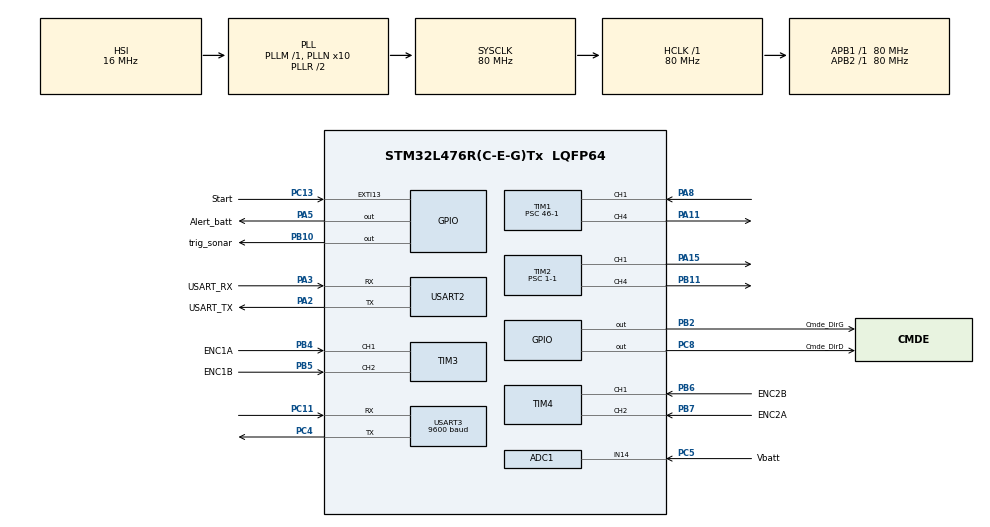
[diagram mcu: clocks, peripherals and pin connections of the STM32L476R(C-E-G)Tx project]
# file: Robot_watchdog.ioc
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ADC1.AWD1HighThreshold=255
ADC1.AWD1ITMode=ENABLE
ADC1.AWD1LowThreshold=232
ADC1.Channel-0\#ChannelRegularConversion=ADC_CHANNEL_14
ADC1.ClockPrescaler=ADC_CLOCK_ASYNC_DIV1
ADC1.EnableAnalogWatchDog1=true
ADC1.NbrOfConversionFlag=1
ADC1.OffsetNumber-0\#ChannelRegularConversion=ADC_OFFSET_NONE
ADC1.Rank-0\#ChannelRegularConversion=1
ADC1.Resolution=ADC_RESOLUTION_8B
ADC1.SamplingTime-0\#ChannelRegularConversion=ADC_SAMPLETIME_640CYCLES_5
ADC1.WatchdogChannel=ADC_CHANNEL_14
ADC1.master=1
Mcu.Family=STM32L4
Mcu.Name=STM32L476R(C-E-G)Tx
Mcu.Package=LQFP64
NVIC.ADC1_2_IRQn=true\:0\:0\:false\:false\:true\:true\:true\:true
NVIC.EXTI15_10_IRQn=true\:0\:0\:false\:false\:true\:true\:true\:true
NVIC.PriorityGroup=NVIC_PRIORITYGROUP_4
NVIC.TIM1_CC_IRQn=true\:0\:0\:false\:false\:true\:true\:true\:true
NVIC.TIM1_UP_TIM16_IRQn=true\:0\:0\:false\:false\:true\:true\:true\:true
NVIC.TIM2_IRQn=true\:0\:0\:false\:false\:true\:true\:true\:true
NVIC.TIM6_DAC_IRQn=true\:0\:0\:false\:false\:true\:true\:true\:true
NVIC.TIM7_IRQn=true\:0\:0\:false\:false\:true\:true\:true\:true
NVIC.USART3_IRQn=true\:0\:0\:false\:false\:true\:true\:true\:true
PA11.Signal=S_TIM1_CH4
PA13\ (JTMS-SWDIO).GPIO_Label=TMS
PA13\ (JTMS-SWDIO).Mode=Serial_Wire
PA13\ (JTMS-SWDIO).Signal=SYS_JTMS-SWDIO
PA14\ (JTCK-SWCLK).GPIO_Label=TCK
PA14\ (JTCK-SWCLK).Mode=Serial_Wire
PA14\ (JTCK-SWCLK).Signal=SYS_JTCK-SWCLK
PA15\ (JTDI).Signal=S_TIM2_CH1
PA2.GPIO_Label=USART_TX
PA2.GPIO_Mode=GPIO_MODE_AF_PP
PA2.GPIO_PuPd=GPIO_NOPULL
PA2.GPIO_Speed=GPIO_SPEED_FREQ_VERY_HIGH
PA2.Mode=Asynchronous
PA2.Signal=USART2_TX
PA3.GPIO_Label=USART_RX
PA3.GPIO_Mode=GPIO_MODE_AF_PP
PA3.GPIO_PuPd=GPIO_NOPULL
PA3.GPIO_Speed=GPIO_SPEED_FREQ_VERY_HIGH
PA3.Mode=Asynchronous
PA3.Signal=USART2_RX
PA5.GPIO_Label=Alert_batt
PA5.Signal=GPIO_Output
PA8.Signal=S_TIM1_CH1
PB10.GPIO_Label=trig_sonar
PB10.Signal=GPIO_Output
PB11.Signal=S_TIM2_CH4
PB2.GPIO_Label=Cmde_DirG
PB2.Signal=GPIO_Output
PB3\ (JTDO-TRACESWO).GPIO_Label=SWO
PB3\ (JTDO-TRACESWO).Signal=SYS_JTDO-SWO
PB4\ (NJTRST).GPIO_Label=ENC1A
PB4\ (NJTRST).Signal=S_TIM3_CH1
PB5.GPIO_Label=ENC1B
PB5.Signal=S_TIM3_CH2
PB6.GPIO_Label=ENC2B
PB6.Signal=S_TIM4_CH1
PB7.GPIO_Label=ENC2A
PB7.Signal=S_TIM4_CH2
PC11.Mode=Asynchronous
PC11.Signal=USART3_RX
PC13.GPIO_Label=Start
PC13.Signal=GPXTI13
PC14-OSC32_IN\ (PC14).Mode=LSE-External-Oscillator
PC14-OSC32_IN\ (PC14).Signal=RCC_OSC32_IN
PC15-OSC32_OUT\ (PC15).Mode=LSE-External-Oscillator
PC15-OSC32_OUT\ (PC15).Signal=RCC_OSC32_OUT
PC4.Mode=Asynchronous
PC4.Signal=USART3_TX
PC5.GPIO_Label=Vbatt
PC5.Signal=ADCx_IN14
PC8.GPIO_Label=Cmde_DirD
PC8.Signal=GPIO_Output
PH0-OSC_IN\ (PH0).Signal=RCC_OSC_IN
PH1-OSC_OUT\ (PH1).Signal=RCC_OSC_OUT
ProjectManager.HeapSize=0x200
ProjectManager.StackSize=0x400
ProjectManager.TargetToolchain=STM32CubeIDE
RCC.ADCFreq_Value=64000000
RCC.AHBFreq_Value=80000000
RCC.APB1Freq_Value=80000000
RCC.APB1TimFreq_Value=80000000
RCC.APB2Freq_Value=80000000
RCC.APB2TimFreq_Value=80000000
RCC.CortexFreq_Value=80000000
RCC.HCLKFreq_Value=80000000
RCC.HSE_VALUE=8000000
RCC.HSI_VALUE=16000000
RCC.MSI_VALUE=4000000
RCC.PLLN=10
RCC.PLLSourceVirtual=RCC_PLLSOURCE_HSI
RCC.PREFETCH_ENABLE=1
RCC.SYSCLKFreq_VALUE=80000000
RCC.SYSCLKSource=RCC_SYSCLKSOURCE_PLLCLK
RCC.USBFreq_Value=64000000
RCC.VCOOutputFreq_Value=160000000
SH.ADCx_IN14.0=ADC1_IN14,IN14-Single-Ended
SH.S_TIM1_CH1.0=TIM1_CH1,PWM_Input_1
SH.S_TIM1_CH4.0=TIM1_CH4,PWM Generation4 CH4
SH.S_TIM2_CH1.0=TIM2_CH1,PWM Generation1 CH1
SH.S_TIM2_CH4.0=TIM2_CH4,PWM Generation4 CH4
SH.S_TIM3_CH1.0=TIM3_CH1,Encoder_Interface
SH.S_TIM3_CH2.0=TIM3_CH2,Encoder_Interface
SH.S_TIM4_CH1.0=TIM4_CH1,Encoder_Interface
SH.S_TIM4_CH2.0=TIM4_CH2,Encoder_Interface
TIM1.Channel-PWM\ Generation4\ CH4=TIM_CHANNEL_4
TIM1.Prescaler=46-1
TIM2.Channel-PWM\ Generation1\ CH1=TIM_CHANNEL_1
TIM2.Channel-PWM\ Generation4\ CH4=TIM_CHANNEL_4
TIM2.Period=80000
TIM2.Prescaler=1-1
TIM3.EncoderMode=TIM_ENCODERMODE_TI12
TIM3.IC1Filter=8
TIM3.IC2Filter=8
TIM4.EncoderMode=TIM_ENCODERMODE_TI12
TIM4.IC1Filter=8
TIM4.IC1Polarity=TIM_ICPOLARITY_FALLING
TIM4.IC2Filter=8
TIM4.IC2Polarity=TIM_ICPOLARITY_RISING
TIM6.Period=65520
TIM6.Prescaler=122-1
TIM7.Period=65040-1
TIM7.Prescaler=123-1
USART2.VirtualMode-Asynchronous=VM_ASYNC
USART3.BaudRate=9600
USART3.VirtualMode-Asynchronous=VM_ASYNC
VP_TIM1_VS_ClockSourceINT.Mode=Internal
VP_TIM2_VS_ClockSourceINT.Mode=Internal
VP_TIM6_VS_ClockSourceINT.Mode=Enable_Timer
VP_TIM7_VS_ClockSourceINT.Mode=Enable_Timer
board=NUCLEO-L476RG

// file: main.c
/* USER CODE BEGIN Header */
/**
  ******************************************************************************
  * @file           : main.c
  * @brief          : Main program body
  ******************************************************************************
  * @attention
  *
  * Copyright (c) 2024 STMicroelectronics.
  * All rights reserved.
  *
  * This software is licensed under terms that can be found in the LICENSE file
  * in the root directory of this software component.
  * If no LICENSE file comes with this software, it is provided AS-IS.
  *
  ******************************************************************************
  */
/* USER CODE END Header */
#include "main.h"

/* USER CODE BEGIN Includes */
#include <stdlib.h>
#include <stdio.h>
#include <stdbool.h>
#include <string.h>
/* USER CODE END Includes */

/* USER CODE BEGIN PTD */
typedef enum {
    STATE_IDLE,
    STATE_FORWARD,
    STATE_TURN_LEFT,
    STATE_TURN_RIGHT,
    STATE_ROTATE_SONAR,
    STATE_EVITE_MUR
} State_t;
/* USER CODE END PTD */

ADC_HandleTypeDef hadc1;

TIM_HandleTypeDef htim1;
TIM_HandleTypeDef htim2;
TIM_HandleTypeDef htim3;
TIM_HandleTypeDef htim4;
TIM_HandleTypeDef htim6;
TIM_HandleTypeDef htim7;

UART_HandleTypeDef huart2;
UART_HandleTypeDef huart3;

/* USER CODE BEGIN PV */

State_t currentState = STATE_IDLE;

void check_button_state(void);

void avancer_20(void);
void turn_left(void);
void turn_left_auto(void);
void turn_right(void);
void turn_right_auto(void);
void stop_robot(void);
void recule_robot(void);
void commande();
void pid_asservissement(void);
int get_sonar_distance(void);
void tourner_sonar(int angle);
void rotation_sonar(void);
void rotation_sonar_recursive(int angle);
void activer_sonar(void);

float Kp = 100;
float Ki = 80;
float Kd = 0;

float erreur_d = 0;
float erreur_prec_d = 0;
float somme_erreur_d = 0;
float variation_erreur_d = 0;

float erreur_g = 0;
float erreur_prec_g = 0;
float somme_erreur_g = 0;
float variation_erreur_g = 0;

volatile int16_t vitesse_d = 0;  // mesurée (via calcul_vitesse)
volatile int16_t vitesse_g = 0;
volatile int16_t vitesse_consigne_d = 70;
volatile int16_t vitesse_consigne_g = 70;

volatile uint16_t new_d;
volatile uint16_t new_g;
volatile uint16_t dist_old_d=0;
volatile uint16_t dist_old_g=0;
volatile char buffer;
volatile int com_avancer = 0;
volatile int com_gauche = 0;
volatile int com_droite = 0;
volatile int com_arriere = 0;
volatile int com_arret = 0;
volatile int16_t delta_d;
volatile int16_t delta_g;
volatile uint32_t go = 0;
volatile uint8_t debounce_flag = 0;
volatile uint32_t debounce_time = 0;
const uint32_t DEBOUNCE_DELAY = 100; // 100 ms debounce delay
volatile float commande_d;
volatile float commande_g;
volatile int T_batt = 0;
volatile int mesure_batt = 0;
int V_batt = 0;
float v_batt = 0;
volatile uint16_t compteur_left;
volatile uint16_t compteur_right;
float D,T;
volatile int distance;
volatile int angle;
volatile int closest_distance = 5050;
volatile int closest_angle = 0;
int closest_angle_degre;

#define NUM_SAMPLES 10
int sonar_readings[NUM_SAMPLES]; // Tableau pour stocker les lectures du sonar
int sonar_index = 0; // Indice pour le tableau des lectures
int sonar_sum = 0; // Somme des lectures pour la moyenne
int sonar_count = 0; // Nombre de lectures effectuées

volatile uint32_t rotation_sonar_en_cours = 0;
volatile uint32_t trig_sonar = 0;
volatile uint32_t tourne_droite = 0;
volatile uint32_t tourne_gauche = 0;
volatile uint32_t average_distance = 0;

char msg[100];

//ASSERV
volatile uint16_t distance_d;
volatile uint16_t distance_g;

volatile uint16_t dist_old_d;
volatile uint16_t dist_old_g;

volatile int T_asserv=0;

volatile uint32_t Temps_droit;
volatile uint32_t Temps_gauche;

/* USER CODE END PV */

void SystemClock_Config(void);
static void MX_GPIO_Init(void);
static void MX_USART2_UART_Init(void);
static void MX_ADC1_Init(void);
static void MX_TIM6_Init(void);
static void MX_TIM2_Init(void);
static void MX_USART3_UART_Init(void);
static void MX_TIM1_Init(void);
static void MX_TIM7_Init(void);
static void MX_TIM3_Init(void);
static void MX_TIM4_Init(void);

int main(void)
{

  /* MCU Configuration--------------------------------------------------------*/

  /* Reset of all peripherals, Initializes the Flash interface and the Systick. */
  HAL_Init();

  /* Configure the system clock */
  SystemClock_Config();

  /* Initialize all configured peripherals */
  MX_GPIO_Init();
  MX_USART2_UART_Init();
  MX_ADC1_Init();
  MX_TIM6_Init();
  MX_TIM2_Init();
  MX_USART3_UART_Init();
  MX_TIM1_Init();
  MX_TIM7_Init();
  MX_TIM3_Init();
  MX_TIM4_Init();
  /* USER CODE BEGIN 2 */
  HAL_TIM_Base_Start(&htim2);
  HAL_TIM_PWM_Start(&htim2, TIM_CHANNEL_1);  // démarrage du moteur 1
  HAL_TIM_PWM_Start(&htim2, TIM_CHANNEL_4);  // démarrage du moteur 2
  __HAL_TIM_SET_COMPARE(&htim2, TIM_CHANNEL_1, 0);
  __HAL_TIM_SET_COMPARE(&htim2, TIM_CHANNEL_4, 0);
  HAL_TIM_Base_Start_IT(&htim6);
  HAL_UART_Receive_IT(&huart3, (uint8_t *)&buffer, 1);
  HAL_ADC_Start_IT(&hadc1);  // au bon endroit (ex : dans main())

  //distance
  HAL_TIM_IC_Start_IT(&htim1, TIM_CHANNEL_2);

  //servomoteur
  HAL_TIM_PWM_Start(&htim1, TIM_CHANNEL_4);

  HAL_TIM_Base_Start_IT(&htim7);

  go = 0;
  HAL_GPIO_WritePin(GPIOA, Alert_batt_Pin, RESET);

  HAL_TIM_Encoder_Start_IT(&htim4, TIM_CHANNEL_ALL);
  HAL_TIM_Encoder_Start_IT(&htim3, TIM_CHANNEL_ALL);

  /* USER CODE END 2 */

  /* Infinite loop */
  /* USER CODE BEGIN WHILE */
  while (1)
  {

	if (!go) {
	     currentState = STATE_IDLE;
	     stop_robot();
	}

	while(go){
			if (T_batt >= 50){
					T_batt = 0;
					HAL_ADC_Start(&hadc1);
					sprintf(msg,"Tension de la batterie : %f mV\r\n", v_batt);
					HAL_UART_Transmit(&huart2, (uint8_t*)msg, strlen(msg), HAL_MAX_DELAY);
			}

	    switch (currentState)
	    {
	      case STATE_IDLE:
	        check_button_state();
	        tourner_sonar(2400);

	        distance = get_sonar_distance();
	        currentState = STATE_FORWARD;
	        break;

	      case STATE_FORWARD:

	    	    commande();

				distance = get_sonar_distance();
			    tourne_droite = 0;
			    tourne_gauche = 0;
				if (distance < 4040 && distance >1515)
				{
				  tourner_sonar(800);
				  currentState = STATE_EVITE_MUR;
				}
				else {
				//	avancer_20();
					currentState = STATE_FORWARD;
				}

	        break;

	      case STATE_EVITE_MUR:
	        stop_robot();
	        rotation_sonar();
	        currentState = STATE_ROTATE_SONAR;
	        break;

	      case STATE_TURN_LEFT:

	    	tourner_sonar(2400);
	        //turn_left_auto();
	    	turn_left();
	    	if (Temps_gauche > 25){
	    		avancer_20();
	    		//HAL_Delay(2000);
	    		currentState = STATE_FORWARD;}
	        break;

	      case STATE_TURN_RIGHT:

	    	tourner_sonar(2400);
	        //turn_right_auto();
	    	turn_right();
	    	if (Temps_droit> 25){
	    		avancer_20();
	    		//HAL_Delay(2000);
	    		currentState = STATE_FORWARD;}
	        break;

	      case STATE_ROTATE_SONAR:
	        //rotation_sonar();
	        if (closest_angle > 2400 && rotation_sonar_en_cours == 0)
	        {
		      tourne_droite = 1;
		      Temps_droit=0;
	          currentState = STATE_TURN_RIGHT;
	        }
	        else if (closest_angle < 2400 && rotation_sonar_en_cours == 0)
	        {
	          //tourner_sonar(2400);
	          tourne_gauche = 1;
	          Temps_gauche=0;
	          currentState = STATE_TURN_LEFT;
	        }
	        else if (closest_angle == 2400 && rotation_sonar_en_cours == 0)
	        {
	          //tourner_sonar(2400);
		      tourne_gauche = 1;
		      Temps_gauche = 0;
	          currentState = STATE_TURN_LEFT;
	        }
	        break;

	    }
	}

    /* USER CODE END WHILE */

    /* USER CODE BEGIN 3 */

    __HAL_TIM_SET_COMPARE(&htim2, TIM_CHANNEL_1, 0);
    __HAL_TIM_SET_COMPARE(&htim2, TIM_CHANNEL_4, 0);
  }
  /* USER CODE END 3 */
}

void SystemClock_Config(void)
{
  RCC_OscInitTypeDef RCC_OscInitStruct = {0};
  RCC_ClkInitTypeDef RCC_ClkInitStruct = {0};

  /** Configure the main internal regulator output voltage
  */
  if (HAL_PWREx_ControlVoltageScaling(PWR_REGULATOR_VOLTAGE_SCALE1) != HAL_OK)
  {
    Error_Handler();
  }

  /** Initializes the RCC Oscillators according to the specified parameters
  * in the RCC_OscInitTypeDef structure.
  */
  RCC_OscInitStruct.OscillatorType = RCC_OSCILLATORTYPE_HSI;
  RCC_OscInitStruct.HSIState = RCC_HSI_ON;
  RCC_OscInitStruct.HSICalibrationValue = RCC_HSICALIBRATION_DEFAULT;
  RCC_OscInitStruct.PLL.PLLState = RCC_PLL_ON;
  RCC_OscInitStruct.PLL.PLLSource = RCC_PLLSOURCE_HSI;
  RCC_OscInitStruct.PLL.PLLM = 1;
  RCC_OscInitStruct.PLL.PLLN = 10;
  RCC_OscInitStruct.PLL.PLLP = RCC_PLLP_DIV7;
  RCC_OscInitStruct.PLL.PLLQ = RCC_PLLQ_DIV2;
  RCC_OscInitStruct.PLL.PLLR = RCC_PLLR_DIV2;
  if (HAL_RCC_OscConfig(&RCC_OscInitStruct) != HAL_OK)
  {
    Error_Handler();
  }

  /** Initializes the CPU, AHB and APB buses clocks
  */
  RCC_ClkInitStruct.ClockType = RCC_CLOCKTYPE_HCLK|RCC_CLOCKTYPE_SYSCLK
                              |RCC_CLOCKTYPE_PCLK1|RCC_CLOCKTYPE_PCLK2;
  RCC_ClkInitStruct.SYSCLKSource = RCC_SYSCLKSOURCE_PLLCLK;
  RCC_ClkInitStruct.AHBCLKDivider = RCC_SYSCLK_DIV1;
  RCC_ClkInitStruct.APB1CLKDivider = RCC_HCLK_DIV1;
  RCC_ClkInitStruct.APB2CLKDivider = RCC_HCLK_DIV1;

  if (HAL_RCC_ClockConfig(&RCC_ClkInitStruct, FLASH_LATENCY_4) != HAL_OK)
  {
    Error_Handler();
  }
}

static void MX_ADC1_Init(void)
{

  ADC_MultiModeTypeDef multimode = {0};
  ADC_AnalogWDGConfTypeDef AnalogWDGConfig = {0};
  ADC_ChannelConfTypeDef sConfig = {0};

  /** Common config
  */
  hadc1.Instance = ADC1;
  hadc1.Init.ClockPrescaler = ADC_CLOCK_ASYNC_DIV1;
  hadc1.Init.Resolution = ADC_RESOLUTION_8B;
  hadc1.Init.DataAlign = ADC_DATAALIGN_RIGHT;
  hadc1.Init.ScanConvMode = ADC_SCAN_DISABLE;
  hadc1.Init.EOCSelection = ADC_EOC_SINGLE_CONV;
  hadc1.Init.LowPowerAutoWait = DISABLE;
  hadc1.Init.ContinuousConvMode = DISABLE;
  hadc1.Init.NbrOfConversion = 1;
  hadc1.Init.DiscontinuousConvMode = DISABLE;
  hadc1.Init.ExternalTrigConv = ADC_SOFTWARE_START;
  hadc1.Init.ExternalTrigConvEdge = ADC_EXTERNALTRIGCONVEDGE_NONE;
  hadc1.Init.DMAContinuousRequests = DISABLE;
  hadc1.Init.Overrun = ADC_OVR_DATA_PRESERVED;
  hadc1.Init.OversamplingMode = DISABLE;
  if (HAL_ADC_Init(&hadc1) != HAL_OK)
  {
    Error_Handler();
  }

  /** Configure the ADC multi-mode
  */
  multimode.Mode = ADC_MODE_INDEPENDENT;
  if (HAL_ADCEx_MultiModeConfigChannel(&hadc1, &multimode) != HAL_OK)
  {
    Error_Handler();
  }

  /** Configure Analog WatchDog 1
  */
  AnalogWDGConfig.WatchdogNumber = ADC_ANALOGWATCHDOG_1;
  AnalogWDGConfig.WatchdogMode = ADC_ANALOGWATCHDOG_SINGLE_REG;
  AnalogWDGConfig.Channel = ADC_CHANNEL_14;
  AnalogWDGConfig.ITMode = ENABLE;
  AnalogWDGConfig.HighThreshold = 255;
  AnalogWDGConfig.LowThreshold = 232;
  if (HAL_ADC_AnalogWDGConfig(&hadc1, &AnalogWDGConfig) != HAL_OK)
  {
    Error_Handler();
  }

  /** Configure Regular Channel
  */
  sConfig.Channel = ADC_CHANNEL_14;
  sConfig.Rank = ADC_REGULAR_RANK_1;
  sConfig.SamplingTime = ADC_SAMPLETIME_640CYCLES_5;
  sConfig.SingleDiff = ADC_SINGLE_ENDED;
  sConfig.OffsetNumber = ADC_OFFSET_NONE;
  sConfig.Offset = 0;
  if (HAL_ADC_ConfigChannel(&hadc1, &sConfig) != HAL_OK)
  {
    Error_Handler();
  }

}

static void MX_TIM1_Init(void)
{

  TIM_ClockConfigTypeDef sClockSourceConfig = {0};
  TIM_SlaveConfigTypeDef sSlaveConfig = {0};
  TIM_IC_InitTypeDef sConfigIC = {0};
  TIM_MasterConfigTypeDef sMasterConfig = {0};
  TIM_OC_InitTypeDef sConfigOC = {0};
  TIM_BreakDeadTimeConfigTypeDef sBreakDeadTimeConfig = {0};

  htim1.Instance = TIM1;
  htim1.Init.Prescaler = 46-1;
  htim1.Init.CounterMode = TIM_COUNTERMODE_UP;
  htim1.Init.Period = 65535;
  htim1.Init.ClockDivision = TIM_CLOCKDIVISION_DIV1;
  htim1.Init.RepetitionCounter = 0;
  htim1.Init.AutoReloadPreload = TIM_AUTORELOAD_PRELOAD_DISABLE;
  if (HAL_TIM_Base_Init(&htim1) != HAL_OK)
  {
    Error_Handler();
  }
  sClockSourceConfig.ClockSource = TIM_CLOCKSOURCE_INTERNAL;
  if (HAL_TIM_ConfigClockSource(&htim1, &sClockSourceConfig) != HAL_OK)
  {
    Error_Handler();
  }
  if (HAL_TIM_PWM_Init(&htim1) != HAL_OK)
  {
    Error_Handler();
  }
  if (HAL_TIM_IC_Init(&htim1) != HAL_OK)
  {
    Error_Handler();
  }
  sSlaveConfig.SlaveMode = TIM_SLAVEMODE_RESET;
  sSlaveConfig.InputTrigger = TIM_TS_TI1FP1;
  sSlaveConfig.TriggerPolarity = TIM_INPUTCHANNELPOLARITY_RISING;
  sSlaveConfig.TriggerPrescaler = TIM_ICPSC_DIV1;
  sSlaveConfig.TriggerFilter = 0;
  if (HAL_TIM_SlaveConfigSynchro(&htim1, &sSlaveConfig) != HAL_OK)
  {
    Error_Handler();
  }
  sConfigIC.ICPolarity = TIM_INPUTCHANNELPOLARITY_RISING;
  sConfigIC.ICSelection = TIM_ICSELECTION_DIRECTTI;
  sConfigIC.ICPrescaler = TIM_ICPSC_DIV1;
  sConfigIC.ICFilter = 0;
  if (HAL_TIM_IC_ConfigChannel(&htim1, &sConfigIC, TIM_CHANNEL_1) != HAL_OK)
  {
    Error_Handler();
  }
  sConfigIC.ICPolarity = TIM_INPUTCHANNELPOLARITY_FALLING;
  sConfigIC.ICSelection = TIM_ICSELECTION_INDIRECTTI;
  if (HAL_TIM_IC_ConfigChannel(&htim1, &sConfigIC, TIM_CHANNEL_2) != HAL_OK)
  {
    Error_Handler();
  }
  sMasterConfig.MasterOutputTrigger = TIM_TRGO_RESET;
  sMasterConfig.MasterOutputTrigger2 = TIM_TRGO2_RESET;
  sMasterConfig.MasterSlaveMode = TIM_MASTERSLAVEMODE_DISABLE;
  if (HAL_TIMEx_MasterConfigSynchronization(&htim1, &sMasterConfig) != HAL_OK)
  {
    Error_Handler();
  }
  sConfigOC.OCMode = TIM_OCMODE_PWM1;
  sConfigOC.Pulse = 0;
  sConfigOC.OCPolarity = TIM_OCPOLARITY_HIGH;
  sConfigOC.OCFastMode = TIM_OCFAST_DISABLE;
  sConfigOC.OCIdleState = TIM_OCIDLESTATE_RESET;
  sConfigOC.OCNIdleState = TIM_OCNIDLESTATE_RESET;
  if (HAL_TIM_PWM_ConfigChannel(&htim1, &sConfigOC, TIM_CHANNEL_4) != HAL_OK)
  {
    Error_Handler();
  }
  sBreakDeadTimeConfig.OffStateRunMode = TIM_OSSR_DISABLE;
  sBreakDeadTimeConfig.OffStateIDLEMode = TIM_OSSI_DISABLE;
  sBreakDeadTimeConfig.LockLevel = TIM_LOCKLEVEL_OFF;
  sBreakDeadTimeConfig.DeadTime = 0;
  sBreakDeadTimeConfig.BreakState = TIM_BREAK_DISABLE;
  sBreakDeadTimeConfig.BreakPolarity = TIM_BREAKPOLARITY_HIGH;
  sBreakDeadTimeConfig.BreakFilter = 0;
  sBreakDeadTimeConfig.Break2State = TIM_BREAK2_DISABLE;
  sBreakDeadTimeConfig.Break2Polarity = TIM_BREAK2POLARITY_HIGH;
  sBreakDeadTimeConfig.Break2Filter = 0;
  sBreakDeadTimeConfig.AutomaticOutput = TIM_AUTOMATICOUTPUT_DISABLE;
  if (HAL_TIMEx_ConfigBreakDeadTime(&htim1, &sBreakDeadTimeConfig) != HAL_OK)
  {
    Error_Handler();
  }
  HAL_TIM_MspPostInit(&htim1);

}

static void MX_TIM2_Init(void)
{

  TIM_ClockConfigTypeDef sClockSourceConfig = {0};
  TIM_MasterConfigTypeDef sMasterConfig = {0};
  TIM_OC_InitTypeDef sConfigOC = {0};

  htim2.Instance = TIM2;
  htim2.Init.Prescaler = 1-1;
  htim2.Init.CounterMode = TIM_COUNTERMODE_UP;
  htim2.Init.Period = 80000;
  htim2.Init.ClockDivision = TIM_CLOCKDIVISION_DIV1;
  htim2.Init.AutoReloadPreload = TIM_AUTORELOAD_PRELOAD_DISABLE;
  if (HAL_TIM_Base_Init(&htim2) != HAL_OK)
  {
    Error_Handler();
  }
  sClockSourceConfig.ClockSource = TIM_CLOCKSOURCE_INTERNAL;
  if (HAL_TIM_ConfigClockSource(&htim2, &sClockSourceConfig) != HAL_OK)
  {
    Error_Handler();
  }
  if (HAL_TIM_PWM_Init(&htim2) != HAL_OK)
  {
    Error_Handler();
  }
  sMasterConfig.MasterOutputTrigger = TIM_TRGO_RESET;
  sMasterConfig.MasterSlaveMode = TIM_MASTERSLAVEMODE_DISABLE;
  if (HAL_TIMEx_MasterConfigSynchronization(&htim2, &sMasterConfig) != HAL_OK)
  {
    Error_Handler();
  }
  sConfigOC.OCMode = TIM_OCMODE_PWM1;
  sConfigOC.Pulse = 0;
  sConfigOC.OCPolarity = TIM_OCPOLARITY_HIGH;
  sConfigOC.OCFastMode = TIM_OCFAST_DISABLE;
  if (HAL_TIM_PWM_ConfigChannel(&htim2, &sConfigOC, TIM_CHANNEL_1) != HAL_OK)
  {
    Error_Handler();
  }
  if (HAL_TIM_PWM_ConfigChannel(&htim2, &sConfigOC, TIM_CHANNEL_4) != HAL_OK)
  {
    Error_Handler();
  }
  HAL_TIM_MspPostInit(&htim2);

}

static void MX_TIM3_Init(void)
{

  TIM_Encoder_InitTypeDef sConfig = {0};
  TIM_MasterConfigTypeDef sMasterConfig = {0};

  htim3.Instance = TIM3;
  htim3.Init.Prescaler = 0;
  htim3.Init.CounterMode = TIM_COUNTERMODE_UP;
  htim3.Init.Period = 65535;
  htim3.Init.ClockDivision = TIM_CLOCKDIVISION_DIV1;
  htim3.Init.AutoReloadPreload = TIM_AUTORELOAD_PRELOAD_DISABLE;
  sConfig.EncoderMode = TIM_ENCODERMODE_TI12;
  sConfig.IC1Polarity = TIM_ICPOLARITY_RISING;
  sConfig.IC1Selection = TIM_ICSELECTION_DIRECTTI;
  sConfig.IC1Prescaler = TIM_ICPSC_DIV1;
  sConfig.IC1Filter = 8;
  sConfig.IC2Polarity = TIM_ICPOLARITY_RISING;
  sConfig.IC2Selection = TIM_ICSELECTION_DIRECTTI;
  sConfig.IC2Prescaler = TIM_ICPSC_DIV1;
  sConfig.IC2Filter = 8;
  if (HAL_TIM_Encoder_Init(&htim3, &sConfig) != HAL_OK)
  {
    Error_Handler();
  }
  sMasterConfig.MasterOutputTrigger = TIM_TRGO_RESET;
  sMasterConfig.MasterSlaveMode = TIM_MASTERSLAVEMODE_DISABLE;
  if (HAL_TIMEx_MasterConfigSynchronization(&htim3, &sMasterConfig) != HAL_OK)
  {
    Error_Handler();
  }

}

static void MX_TIM4_Init(void)
{

  TIM_Encoder_InitTypeDef sConfig = {0};
  TIM_MasterConfigTypeDef sMasterConfig = {0};

  htim4.Instance = TIM4;
  htim4.Init.Prescaler = 0;
  htim4.Init.CounterMode = TIM_COUNTERMODE_UP;
  htim4.Init.Period = 65535;
  htim4.Init.ClockDivision = TIM_CLOCKDIVISION_DIV1;
  htim4.Init.AutoReloadPreload = TIM_AUTORELOAD_PRELOAD_DISABLE;
  sConfig.EncoderMode = TIM_ENCODERMODE_TI12;
  sConfig.IC1Polarity = TIM_ICPOLARITY_FALLING;
  sConfig.IC1Selection = TIM_ICSELECTION_DIRECTTI;
  sConfig.IC1Prescaler = TIM_ICPSC_DIV1;
  sConfig.IC1Filter = 8;
  sConfig.IC2Polarity = TIM_ICPOLARITY_RISING;
  sConfig.IC2Selection = TIM_ICSELECTION_DIRECTTI;
  sConfig.IC2Prescaler = TIM_ICPSC_DIV1;
  sConfig.IC2Filter = 8;
  if (HAL_TIM_Encoder_Init(&htim4, &sConfig) != HAL_OK)
  {
    Error_Handler();
  }
  sMasterConfig.MasterOutputTrigger = TIM_TRGO_RESET;
  sMasterConfig.MasterSlaveMode = TIM_MASTERSLAVEMODE_DISABLE;
  if (HAL_TIMEx_MasterConfigSynchronization(&htim4, &sMasterConfig) != HAL_OK)
  {
    Error_Handler();
  }

}

static void MX_TIM6_Init(void)
{

  TIM_MasterConfigTypeDef sMasterConfig = {0};

  htim6.Instance = TIM6;
  htim6.Init.Prescaler = 122-1;
  htim6.Init.CounterMode = TIM_COUNTERMODE_UP;
  htim6.Init.Period = 65520;
  htim6.Init.AutoReloadPreload = TIM_AUTORELOAD_PRELOAD_DISABLE;
  if (HAL_TIM_Base_Init(&htim6) != HAL_OK)
  {
    Error_Handler();
  }
  sMasterConfig.MasterOutputTrigger = TIM_TRGO_RESET;
  sMasterConfig.MasterSlaveMode = TIM_MASTERSLAVEMODE_DISABLE;
  if (HAL_TIMEx_MasterConfigSynchronization(&htim6, &sMasterConfig) != HAL_OK)
  {
    Error_Handler();
  }

}

static void MX_TIM7_Init(void)
{

  TIM_MasterConfigTypeDef sMasterConfig = {0};

  htim7.Instance = TIM7;
  htim7.Init.Prescaler = 123-1;
  htim7.Init.CounterMode = TIM_COUNTERMODE_UP;
  htim7.Init.Period = 65040-1;
  htim7.Init.AutoReloadPreload = TIM_AUTORELOAD_PRELOAD_DISABLE;
  if (HAL_TIM_Base_Init(&htim7) != HAL_OK)
  {
    Error_Handler();
  }
  sMasterConfig.MasterOutputTrigger = TIM_TRGO_RESET;
  sMasterConfig.MasterSlaveMode = TIM_MASTERSLAVEMODE_DISABLE;
  if (HAL_TIMEx_MasterConfigSynchronization(&htim7, &sMasterConfig) != HAL_OK)
  {
    Error_Handler();
  }

}

static void MX_USART2_UART_Init(void)
{

  huart2.Instance = USART2;
  huart2.Init.BaudRate = 115200;
  huart2.Init.WordLength = UART_WORDLENGTH_8B;
  huart2.Init.StopBits = UART_STOPBITS_1;
  huart2.Init.Parity = UART_PARITY_NONE;
  huart2.Init.Mode = UART_MODE_TX_RX;
  huart2.Init.HwFlowCtl = UART_HWCONTROL_NONE;
  huart2.Init.OverSampling = UART_OVERSAMPLING_16;
  huart2.Init.OneBitSampling = UART_ONE_BIT_SAMPLE_DISABLE;
  huart2.AdvancedInit.AdvFeatureInit = UART_ADVFEATURE_NO_INIT;
  if (HAL_UART_Init(&huart2) != HAL_OK)
  {
    Error_Handler();
  }

}

static void MX_USART3_UART_Init(void)
{

  huart3.Instance = USART3;
  huart3.Init.BaudRate = 9600;
  huart3.Init.WordLength = UART_WORDLENGTH_8B;
  huart3.Init.StopBits = UART_STOPBITS_1;
  huart3.Init.Parity = UART_PARITY_NONE;
  huart3.Init.Mode = UART_MODE_TX_RX;
  huart3.Init.HwFlowCtl = UART_HWCONTROL_NONE;
  huart3.Init.OverSampling = UART_OVERSAMPLING_16;
  huart3.Init.OneBitSampling = UART_ONE_BIT_SAMPLE_DISABLE;
  huart3.AdvancedInit.AdvFeatureInit = UART_ADVFEATURE_NO_INIT;
  if (HAL_UART_Init(&huart3) != HAL_OK)
  {
    Error_Handler();
  }

}

static void MX_GPIO_Init(void)
{
  GPIO_InitTypeDef GPIO_InitStruct = {0};

  /* GPIO Ports Clock Enable */
  __HAL_RCC_GPIOC_CLK_ENABLE();
  __HAL_RCC_GPIOH_CLK_ENABLE();
  __HAL_RCC_GPIOA_CLK_ENABLE();
  __HAL_RCC_GPIOB_CLK_ENABLE();

  /*Configure GPIO pin Output Level */
  HAL_GPIO_WritePin(Alert_batt_GPIO_Port, Alert_batt_Pin, GPIO_PIN_RESET);

  /*Configure GPIO pin Output Level */
  HAL_GPIO_WritePin(GPIOB, Cmde_DirG_Pin|trig_sonar_Pin, GPIO_PIN_RESET);

  /*Configure GPIO pin Output Level */
  HAL_GPIO_WritePin(Cmde_DirD_GPIO_Port, Cmde_DirD_Pin, GPIO_PIN_RESET);

  /*Configure GPIO pin : Start_Pin */
  GPIO_InitStruct.Pin = Start_Pin;
  GPIO_InitStruct.Mode = GPIO_MODE_IT_RISING;
  GPIO_InitStruct.Pull = GPIO_NOPULL;
  HAL_GPIO_Init(Start_GPIO_Port, &GPIO_InitStruct);

  /*Configure GPIO pin : Alert_batt_Pin */
  GPIO_InitStruct.Pin = Alert_batt_Pin;
  GPIO_InitStruct.Mode = GPIO_MODE_OUTPUT_PP;
  GPIO_InitStruct.Pull = GPIO_NOPULL;
  GPIO_InitStruct.Speed = GPIO_SPEED_FREQ_LOW;
  HAL_GPIO_Init(Alert_batt_GPIO_Port, &GPIO_InitStruct);

  /*Configure GPIO pins : Cmde_DirG_Pin trig_sonar_Pin */
  GPIO_InitStruct.Pin = Cmde_DirG_Pin|trig_sonar_Pin;
  GPIO_InitStruct.Mode = GPIO_MODE_OUTPUT_PP;
  GPIO_InitStruct.Pull = GPIO_NOPULL;
  GPIO_InitStruct.Speed = GPIO_SPEED_FREQ_LOW;
  HAL_GPIO_Init(GPIOB, &GPIO_InitStruct);

  /*Configure GPIO pin : Cmde_DirD_Pin */
  GPIO_InitStruct.Pin = Cmde_DirD_Pin;
  GPIO_InitStruct.Mode = GPIO_MODE_OUTPUT_PP;
  GPIO_InitStruct.Pull = GPIO_NOPULL;
  GPIO_InitStruct.Speed = GPIO_SPEED_FREQ_LOW;
  HAL_GPIO_Init(Cmde_DirD_GPIO_Port, &GPIO_InitStruct);

  /* EXTI interrupt init*/
  HAL_NVIC_SetPriority(EXTI15_10_IRQn, 0, 0);
  HAL_NVIC_EnableIRQ(EXTI15_10_IRQn);

}

/* USER CODE BEGIN 4 */

void check_button_state()
{
    if (debounce_flag == 1 && (HAL_GetTick() - debounce_time) > DEBOUNCE_DELAY)
    {
        debounce_flag = 0;

    }
}

void avancer_20(void)
{
    HAL_GPIO_WritePin(GPIOC, Cmde_DirD_Pin, GPIO_PIN_SET);  // réglage de la direction du moteur 1
    HAL_GPIO_WritePin(GPIOB, Cmde_DirG_Pin, GPIO_PIN_SET);  // réglage de la direction du moteur 2
    __HAL_TIM_SET_COMPARE(&htim2, TIM_CHANNEL_1, 45765);
    __HAL_TIM_SET_COMPARE(&htim2, TIM_CHANNEL_4, 45765);
   // __HAL_TIM_SET_COMPARE(&htim2, TIM_CHANNEL_1, (uint16_t)commande_d); // moteur droit
    //__HAL_TIM_SET_COMPARE(&htim2, TIM_CHANNEL_4, (uint16_t)commande_g); // moteur gauche
 // réglage du rapport cyclique

}

void turn_left(void)
{
    HAL_GPIO_WritePin(GPIOC, Cmde_DirD_Pin, GPIO_PIN_SET);
    HAL_GPIO_WritePin(GPIOB, Cmde_DirG_Pin, GPIO_PIN_RESET);
    __HAL_TIM_SET_COMPARE(&htim2, TIM_CHANNEL_1, 30000);
    __HAL_TIM_SET_COMPARE(&htim2, TIM_CHANNEL_4, 30000);

}

void turn_right(void)
{
    HAL_GPIO_WritePin(GPIOC, Cmde_DirD_Pin, GPIO_PIN_RESET);
    HAL_GPIO_WritePin(GPIOB, Cmde_DirG_Pin, GPIO_PIN_SET);
    __HAL_TIM_SET_COMPARE(&htim2, TIM_CHANNEL_1, 30000);
    __HAL_TIM_SET_COMPARE(&htim2, TIM_CHANNEL_4, 30000);

}

void stop_robot(void)
{
    __HAL_TIM_SET_COMPARE(&htim2, TIM_CHANNEL_1, 0);
    __HAL_TIM_SET_COMPARE(&htim2, TIM_CHANNEL_4, 0);
}

void recule_robot(void)
{
    HAL_GPIO_WritePin(GPIOC, Cmde_DirD_Pin, GPIO_PIN_RESET);
    HAL_GPIO_WritePin(GPIOB, Cmde_DirG_Pin, GPIO_PIN_RESET);
    __HAL_TIM_SET_COMPARE(&htim2, TIM_CHANNEL_1, 45765);
    __HAL_TIM_SET_COMPARE(&htim2, TIM_CHANNEL_4, 45765);
}

void calcul_vitesse(void)
{
    new_d = TIM3->CNT;  // Droite
    new_g = TIM4->CNT;  // Gauche

    // Gestion du dépassement de compteur (overflow)
    delta_d = (int16_t)(new_d - dist_old_d);
    delta_g = (int16_t)(new_g - dist_old_g);

    dist_old_d = new_d;
    dist_old_g = new_g;

    // Calcul vitesse : delta / période (ici en 100 ms -> 0.1 s)
    // Résultat en impulsions / seconde
    vitesse_d = delta_d ;  // Multiplie par 10 pour convertir 100ms -> 1s
    vitesse_g = delta_g ;
}

void HAL_UART_RxCpltCallback(UART_HandleTypeDef *huart)
{
  if(huart->Instance == USART3)
  {
    if (go){
      if (buffer == 'F') {
        com_avancer = 1;
      }
      else if (buffer == 'R') {
        com_droite = 1;
      }
      else if (buffer == 'L') {
        com_gauche = 1;
      }
      else if (buffer == 'B') {
        com_arriere = 1;
      }
      else if (buffer == 'V') {
        com_arret = 1;
      }
    }

    HAL_UART_Receive_IT(&huart3, (uint8_t *)&buffer, 1);
  }
}

void commande(void){
	  if (com_avancer == 1) {
		avancer_20();
		com_avancer = 0;
	  }

	  if (com_gauche == 1) {
		turn_left();
		com_gauche = 0;
	  }

	  if (com_droite == 1) {
		turn_right();
		com_droite = 0;
	  }

	  if (com_arriere == 1){
		  recule_robot();
		  com_arriere = 0;
	  }

	  if (com_arret == 1){
		  stop_robot();
		  com_arret = 0;
	  }

}

void HAL_ADC_ConvCpltCallback(ADC_HandleTypeDef *hadc)
{
	if(hadc ->Instance==ADC1){
		V_batt = HAL_ADC_GetValue(hadc);
		v_batt = V_batt * 3.3/255;
		HAL_ADC_Start_IT(hadc);
	}

}

//BATTERIE
void HAL_ADC_LevelOutOfWindowCallback(ADC_HandleTypeDef *hadc)
{

	if (hadc->Instance == ADC1){
		HAL_GPIO_WritePin(GPIOA, Alert_batt_Pin, GPIO_PIN_SET);
	}

}

void HAL_TIM_PeriodElapsedCallback(TIM_HandleTypeDef *htim)
{
  UNUSED(htim);

  if (htim->Instance == TIM7)
  {
	    if (rotation_sonar_en_cours == 1)
	    {

                // Calculer la moyenne des 10 mesures prises à cet angle
                //average_distance = sonar_sum / NUM_SAMPLES;
	    	   average_distance = distance;

                // Stocker ou traiter la moyenne ici selon les besoins
                if (average_distance <= closest_distance)
                {
                    closest_distance = average_distance;
                    closest_angle = angle;
                }

                // Réinitialiser pour le prochain angle
                sonar_sum = 0;
                sonar_count = 0;

                // Incrémenter l'angle après avoir pris 10 mesures
                angle += 50;

                // Mettre à jour l'angle du servomoteur
                if (angle <= 4000)
                {
                    __HAL_TIM_SET_COMPARE(&htim1, TIM_CHANNEL_4, angle);
                }
                else
                {
                    rotation_sonar_en_cours = 0; // Arrêter la rotation à la fin du sweep
                }
          }

		  if (trig_sonar == 1)
		  {
			  // Déclencher le sonar
			  activer_sonar();

		  }
     }

  if (htim->Instance == TIM6)
    {
	  T_batt++;
	  Temps_droit++;
	  Temps_gauche++;
	  T_asserv++;
	  if (T_asserv >= 2){
		  T_asserv=0;
		  calcul_vitesse();
		  pid_asservissement();
	  }

    }

}

void HAL_GPIO_EXTI_Callback(uint16_t GPIO_Pin)
{
  if(GPIO_Pin == Start_Pin && debounce_flag == 0)
  {
      debounce_flag = 1;
      debounce_time = HAL_GetTick();
  }

  if (GPIO_Pin == Start_Pin)
  {
      if (HAL_GPIO_ReadPin(Start_GPIO_Port, Start_Pin) == GPIO_PIN_SET)
      {
          go = !go; // Basculer la variable go entre 0 et 1

      }
  }
}

//SONAR
//mesure distance par sonar
void pid_asservissement(void)
{
    // 1. Calcul erreurs
    erreur_d = vitesse_consigne_d - vitesse_d;
    erreur_g = vitesse_consigne_g - vitesse_g;

    // 2. Intégrale
    somme_erreur_d += erreur_d;
    somme_erreur_g += erreur_g;

    // 3. Dérivée
    variation_erreur_d = erreur_d - erreur_prec_d;
    variation_erreur_g = erreur_g - erreur_prec_g;

    // 4. PID
     commande_d = Kp * erreur_d + Ki * somme_erreur_d + Kd * variation_erreur_d;
     commande_g = Kp * erreur_g + Ki * somme_erreur_g + Kd * variation_erreur_g;

    if (commande_d < 0) commande_d = 0;
    if (commande_d > 80000) commande_d = 80000;

    if (commande_g < 0) commande_g = 0;
    if (commande_g > 80000) commande_g = 80000;

    // 7. Mise à jour des erreurs précédentes
    erreur_prec_d = erreur_d;
    erreur_prec_g = erreur_g;
}
void HAL_TIM_IC_CaptureCallback(TIM_HandleTypeDef *htim)
{
	if (htim ->Channel ==HAL_TIM_ACTIVE_CHANNEL_2 && trig_sonar == 1)
	{
		distance = HAL_TIM_ReadCapturedValue(&htim1, TIM_CHANNEL_2);

        if (rotation_sonar_en_cours == 1 && sonar_count < NUM_SAMPLES)
        {
            sonar_sum += distance;
            sonar_count++;
        }

	}

}

void activer_sonar()
{
	HAL_GPIO_WritePin(GPIOB, trig_sonar_Pin, GPIO_PIN_SET);
}

// Fonction pour mesurer la distance
int get_sonar_distance(void)
{
    activer_sonar();
    trig_sonar = 1;
    return distance;
}

void tourner_sonar(int angle)
{
	__HAL_TIM_SET_COMPARE(&htim1,TIM_CHANNEL_4, angle);
}

void rotation_sonar()
{
      sonar_index = 0;
	  sonar_sum = 0;
	  sonar_count = 0;
	  memset(sonar_readings, 0, sizeof(sonar_readings));
	  rotation_sonar_en_cours = 1;
	    angle = 800; // Start angle from the beginning
	    closest_distance = 5050; // Reset closest distance
	    __HAL_TIM_SET_COMPARE(&htim1, TIM_CHANNEL_4, angle); // Ensure sonar starts moving

}

//ASSERVISSEMENT

/* USER CODE END 4 */

void Error_Handler(void)
{
  __disable_irq();
  while (1)
  {
  }
}
